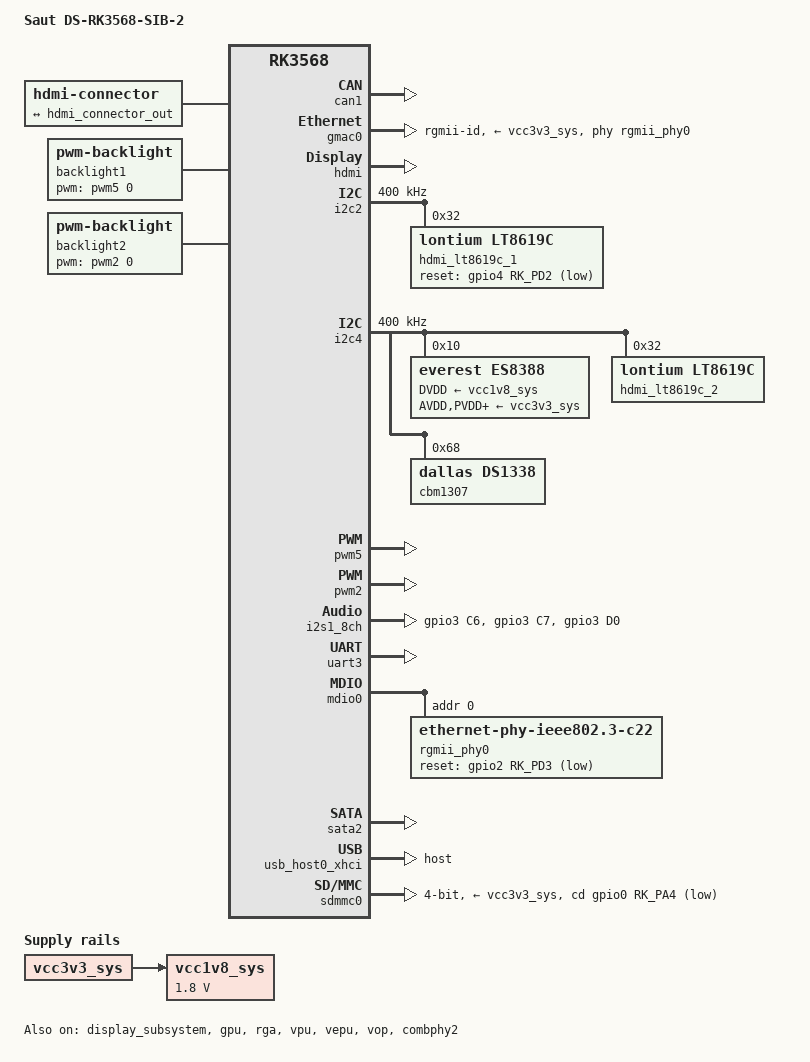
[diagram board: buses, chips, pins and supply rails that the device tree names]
/* SPDX-License-Identifier: GPL-2.0+ */
/* SPDX-FileCopyrightText: Yuri Zubkov <utlark@ya.ru> */

/dts-v1/;

#include <dt-bindings/soc/rockchip,vop2.h>
#include "rk3568-diasom-som.dtsi"

/ {
	model = "Saut DS-RK3568-SIB-2";
	compatible = "saut,ds-rk3568-som-sib", "diasom,ds-rk3568-som", "rockchip,rk3568";
	
	aliases {
		can0 = &can1;
		ethernet0 = &gmac0;
		sound0 = &sound0;
		mmc0 = &sdmmc0;
	};
	
	chosen {
		environment-sd {
			compatible = "barebox,environment";
			device-path = &sdmmc0, "partname:env";
			status = "disabled";
		};
	};
	
	hdmi-connector {
		compatible = "hdmi-connector";
		label = "HDMI";
		type = "a";
		
		port {
			hdmi_connector_in: endpoint {
				remote-endpoint = <&hdmi_connector_out>;
			};
		};
	};
	
	backlight1: backlight-1 {
		compatible = "pwm-backlight";
		pwms = <&pwm5 0 25000 0>;
		brightness-levels = <0 255>;
		num-interpolated-steps = <256>;
		default-brightness-level = <255>;
	};
	
	backlight2: backlight-2 {
		compatible = "pwm-backlight";
		pwms = <&pwm2 0 25000 0>;
		brightness-levels = <0 255>;
		num-interpolated-steps = <256>;
		default-brightness-level = <255>;
	};
	
	sound0: es8388-sound {
		compatible = "simple-audio-card";
		simple-audio-card,name = "ES8388";
		simple-audio-card,format = "i2s";
		simple-audio-card,bitclock-master = <&es8388_master>;
		simple-audio-card,frame-master = <&es8388_master>;
		
		es8388_master: simple-audio-card,cpu {
			sound-dai = <&i2s1_8ch>;
		};
		
		es8388_codec: simple-audio-card,codec {
			sound-dai = <&es8388>;
		};
	};
	
	vcc1v8_sys: vcc1v8-sys-regulator {
		compatible = "regulator-fixed";
		regulator-name = "1v8_sys";
		regulator-boot-on;
		regulator-min-microvolt = <1800000>;
		regulator-max-microvolt = <1800000>;
		vin-supply = <&vcc3v3_sys>;
	};
};

&can1 {
	pinctrl-names = "default";
	pinctrl-0 = <&can1m0_pins>;
	status = "okay";
};

&gmac0 {
	assigned-clocks = <&cru SCLK_GMAC0_RX_TX>, <&cru SCLK_GMAC0>;
	assigned-clock-parents = <&cru SCLK_GMAC0_RGMII_SPEED>;
	assigned-clock-rates = <0>, <125000000>;
	pinctrl-names = "default";
	pinctrl-0 = <&gmac0_miim &gmac0_tx_bus2 &gmac0_rx_bus2 &gmac0_rgmii_clk &gmac0_rgmii_bus>;
	clock_in_out = "output";
	phy-handle = <&rgmii_phy0>;
	phy-mode = "rgmii-id";
	phy-supply = <&vcc3v3_sys>;
	status = "okay";
};

&display_subsystem {
	status = "okay";
};

&gpu {
	status = "okay";
};

&hdmi {
	status = "okay";
};

&hdmi_in {
	hdmi_in_vp0: endpoint {
		remote-endpoint = <&vp0_out_hdmi>;
	};
};

&hdmi_out {
	hdmi_connector_out: endpoint {
		remote-endpoint = <&hdmi_connector_in>;
	};
};

&rga {
	status = "okay";
};

&vpu {
	status = "okay";
};

&vdpu_mmu {
	status = "okay";
};

&vepu {
	status = "okay";
};

&vepu_mmu {
	status = "okay";
};

&vop {
	assigned-clocks = <&cru DCLK_VOP0>, <&cru DCLK_VOP1>;
	assigned-clock-parents = <&pmucru PLL_HPLL>, <&cru PLL_VPLL>;
	status = "okay";
};

&vop_mmu {
	status = "okay";
};

&vp0 {
	vp0_out_hdmi: endpoint@ROCKCHIP_VOP2_EP_HDMI0 {
		reg = <ROCKCHIP_VOP2_EP_HDMI0>;
		remote-endpoint = <&hdmi_in_vp0>;
	};
};

&i2c2 {
	pinctrl-0 = <&i2c2m1_xfer>;
	clock-frequency = <400000>;
	status = "okay";
	
	hdmi_lt8619c_1: lt8619c_1@32 {
		compatible = "lontium,lt8619c";
		reset-gpios = <&gpio4 RK_PD2 GPIO_ACTIVE_LOW>;
		reg = <0x32>;
	};
};

&i2c4 {
	clock-frequency = <400000>;
	status = "okay";
	
	es8388: codec@10 {
		compatible = "everest,es8388";
		assigned-clocks = <&cru I2S1_MCLKOUT_TX>;
		assigned-clock-rates = <12288000>;
		assigned-clock-parents = <&cru CLK_I2S1_8CH_TX>;
		reg = <0x10>;
		clocks = <&cru I2S1_MCLKOUT_TX>;
		DVDD-supply = <&vcc1v8_sys>;
		AVDD-supply = <&vcc3v3_sys>;
		PVDD-supply = <&vcc3v3_sys>;
		HPVDD-supply = <&vcc3v3_sys>;
		
		#sound-dai-cells = <0>;
	};
	
	hdmi_lt8619c_2: lt8619c_2@32 {
		compatible = "lontium,lt8619c";
		reg = <0x32>;
	};
	
	cbm1307: cbm1307@68 {
		compatible = "dallas,ds1338";
		reg = <0x68>;
	};
};

&pwm5 {
	status = "okay";
};

&pwm2 {
	pinctrl-0 = <&pwm2m1_pins>;
	status = "okay";
};

&i2s1_8ch {
	pinctrl-0 = <
		&i2s1_pins
		&i2s1m1_sdo0
		&i2s1m1_sdi0
	>;
	rockchip,trcm-sync-tx-only;
	status = "okay";
};

&uart3 {
	pinctrl-0 = <&uart3m1_xfer &uart3m0_ctsn &uart3m0_rtsn>;
	linux,rs485-enabled-at-boot-time;
	/* In order for DE to be High when transmitting, RTS needs to be Low */
	rs485-rts-active-low;
	status = "okay";
};

&mdio0 {
	rgmii_phy0: phy@0 {
		pinctrl-names = "default";
		pinctrl-0 = <&gmac0_rst_pins>;
		compatible = "ethernet-phy-ieee802.3-c22";
		reg = <0x0>;
		reset-assert-us = <20000>;
		reset-deassert-us = <100000>;
		reset-gpios = <&gpio2 RK_PD3 GPIO_ACTIVE_LOW>;
	};
};

&combphy2 {
	status = "okay";
};

&sata2 {
	status = "okay";
};

&usb_host0_xhci {
	dr_mode = "host";
};

&usb2phy0_host {
	phy-supply = <&vcc5v0_sys>;
};

&sdmmc0 {
	pinctrl-names = "default";
	pinctrl-0 = <&sdmmc0_bus4 &sdmmc0_clk &sdmmc0_cmd &sdmmc0_det>;
	bus-width = <4>;
	cap-mmc-highspeed;
	cap-sd-highspeed;
	cd-gpios = <&gpio0 RK_PA4 GPIO_ACTIVE_LOW>;
	disable-wp;
	sd-uhs-sdr104;
	vmmc-supply = <&vcc3v3_sys>;
	vqmmc-supply = <&vccio_sd>;
	status = "okay";
};

&pinctrl {
	pinctrl-0 = <&board_pins>;
	pinctrl-names = "default";
	
	board {
		board_pins: board-pins {
			rockchip,pins =
				/* X4 - Multi 												*/
				<0 RK_PD4 RK_FUNC_GPIO &pcfg_pull_none>,	/* GPIO_1 		*/
				<0 RK_PA0 RK_FUNC_GPIO &pcfg_pull_none>,	/* GPIO_2 		*/
				<0 RK_PC5 RK_FUNC_GPIO &pcfg_pull_none>,	/* GPIO_3 		*/
				
				/* X7 - Discrete IN 										*/
				<1 RK_PA5 RK_FUNC_GPIO &pcfg_pull_none>,	/* D_IN_1 		*/
				<2 RK_PD2 RK_FUNC_GPIO &pcfg_pull_none>,	/* D_IN_2		*/
				<1 RK_PB3 RK_FUNC_GPIO &pcfg_pull_none>,	/* D_IN_3 		*/
				// <0 RK_PC5 RK_FUNC_GPIO &pcfg_pull_none>,	/* D_IN_4 		*/
				
				/* X8 - Discrete OUT 										*/
				<1 RK_PB2 RK_FUNC_GPIO &pcfg_output_low>,	/* D_OUT_1 		*/
				<1 RK_PB1 RK_FUNC_GPIO &pcfg_output_low>,	/* D_OUT_2		*/
				<1 RK_PB0 RK_FUNC_GPIO &pcfg_output_low>,	/* D_OUT_3 		*/
				<1 RK_PA7 RK_FUNC_GPIO &pcfg_output_low>,	/* D_OUT_4 		*/
				
				/* LED_GREEN 												*/
				<4 RK_PC2 RK_FUNC_GPIO &pcfg_output_low>,	/* D_OUT_1 		*/
				
				/* LED_RED 													*/
				<4 RK_PC3 RK_FUNC_GPIO &pcfg_output_low>,	/* D_OUT_2		*/

				/* HDMI_RESET 												*/
				<4 RK_PD2 RK_FUNC_GPIO &pcfg_pull_none>;	/* HDMI_RESET	*/
		};
	};
	
	i2s {
		i2s1_pins: i2s1-pins {
			rockchip,pins =
				<3 RK_PC6 4 &pcfg_pull_none_smt>,			/* I2S1_MCLK 	*/
				<3 RK_PC7 4 &pcfg_pull_none_smt>,			/* I2S1_TX_SCLK */
				<3 RK_PD0 4 &pcfg_pull_none_smt>;			/* I2S1_TX_LRCK */
		};
	};
	
	net {
		gmac0_rst_pins: gmac0-rst-pins {
			rockchip,pins =
				<2 RK_PD3 RK_FUNC_GPIO &pcfg_pull_none>;	/* GMAC0_RST 	*/
		};
	};
};
